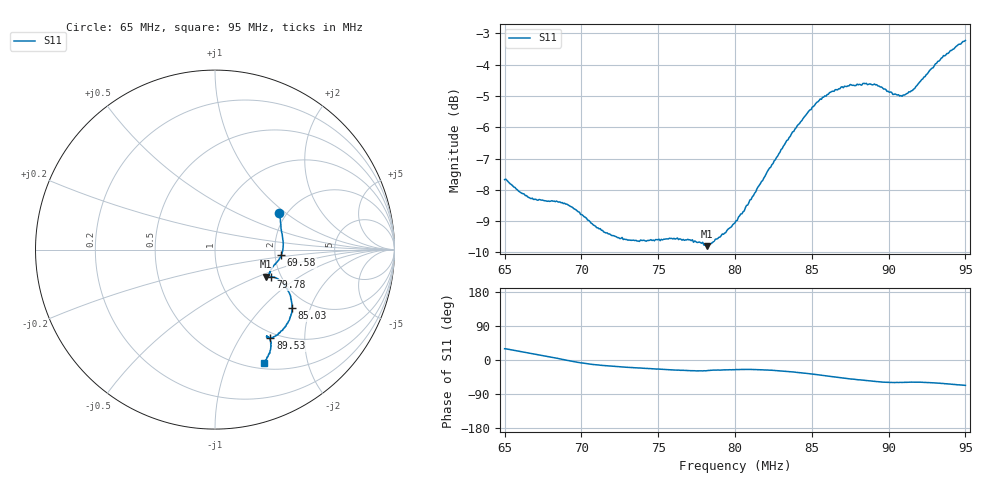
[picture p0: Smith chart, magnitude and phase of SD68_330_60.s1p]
! NanoVNA-App
! Date: 2025-08-09 13:11:52
! Start: 65MHz Stop: 95MHz Points: 401
! S-Parameter data: F S11
# Hz S RI R 50
!  Frequency  S11_Real  S11_Imag
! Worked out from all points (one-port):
!   401 points, 65 MHz to 95 MHz, reference 50 ohm
!   lowest |S11| = -9.8 dB at 78.2 MHz (marker M1), VSWR 1.96, Z = 84.1 - j28.4 ohm
!   |S11| at or under -10 dB: nowhere
!   S11 on the Smith chart (normalised r, x): 65 MHz: 1.83, +0.91; 69.58 MHz: 2.16, -0.16; 79.78 MHz: 1.78, -0.61; 85.03 MHz: 1.65, -1.51; 89.53 MHz: 0.92, -1.37; 95 MHz: 0.56, -1.36
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6.5e7  0.3589 0.205
6.6725e7  0.368 0.1145
6.875e7  0.3797 0.0127
6.9575e7  0.3695 -0.0312
7.07e7  0.3443 -0.0706
7.25e7  0.3164 -0.1033
7.3625e7  0.3085 -0.1165
7.625e7  0.2977 -0.1504
7.7525e7  0.2878 -0.1575
7.82e7  0.2861 -0.1511
7.9775e7  0.3128 -0.1517
8e7  0.3178 -0.1529
8.0975e7  0.3474 -0.1628
8.1725e7  0.3701 -0.1778
8.255e7  0.3933 -0.2036
8.375e7  0.4206 -0.2568
8.5025e7  0.4302 -0.3256
8.63e7  0.4133 -0.395
8.75e7  0.3779 -0.4487
8.8925e7  0.3289 -0.4849
8.9525e7  0.3084 -0.4929
9.035e7  0.2878 -0.487
9.125e7  0.2956 -0.4851
9.1775e7  0.3037 -0.4967
9.23e7  0.3125 -0.5157
9.29e7  0.3105 -0.5413
9.365e7  0.3005 -0.5782
9.5e7  0.2705 -0.6346
